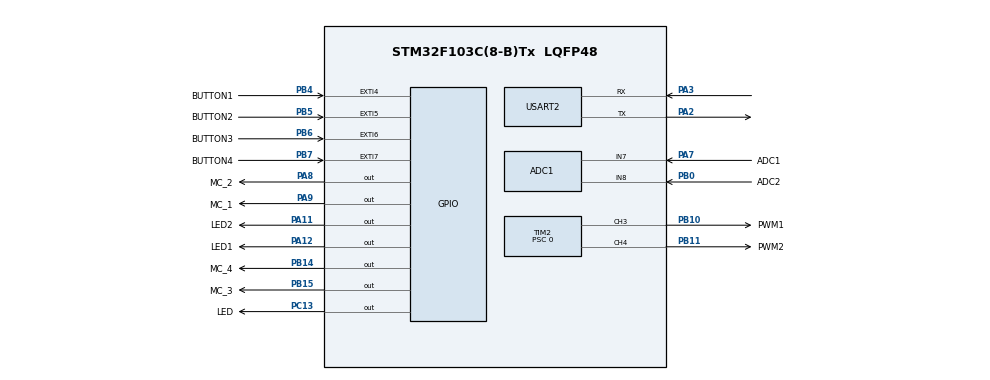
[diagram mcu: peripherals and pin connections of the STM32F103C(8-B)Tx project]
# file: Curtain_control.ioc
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ADC1.Channel-2\#ChannelRegularConversion=ADC_CHANNEL_7
ADC1.Channel-3\#ChannelRegularConversion=ADC_CHANNEL_8
ADC1.ContinuousConvMode=ENABLE
ADC1.NbrOfConversion=2
ADC1.NbrOfConversionFlag=1
ADC1.Rank-2\#ChannelRegularConversion=1
ADC1.Rank-3\#ChannelRegularConversion=2
ADC1.SamplingTime-2\#ChannelRegularConversion=ADC_SAMPLETIME_1CYCLE_5
ADC1.SamplingTime-3\#ChannelRegularConversion=ADC_SAMPLETIME_1CYCLE_5
ADC1.master=1
Dma.ADC1.0.Direction=DMA_PERIPH_TO_MEMORY
Dma.ADC1.0.Instance=DMA1_Channel1
Dma.ADC1.0.MemDataAlignment=DMA_MDATAALIGN_WORD
Dma.ADC1.0.MemInc=DMA_MINC_ENABLE
Dma.ADC1.0.Mode=DMA_CIRCULAR
Dma.ADC1.0.PeriphDataAlignment=DMA_PDATAALIGN_WORD
Dma.ADC1.0.PeriphInc=DMA_PINC_DISABLE
Dma.ADC1.0.Priority=DMA_PRIORITY_LOW
Dma.Request0=ADC1
Dma.Request1=USART2_TX
Dma.Request2=USART2_RX
Dma.USART2_RX.2.Direction=DMA_PERIPH_TO_MEMORY
Dma.USART2_RX.2.Instance=DMA1_Channel6
Dma.USART2_RX.2.MemDataAlignment=DMA_MDATAALIGN_BYTE
Dma.USART2_RX.2.MemInc=DMA_MINC_ENABLE
Dma.USART2_RX.2.Mode=DMA_NORMAL
Dma.USART2_RX.2.PeriphDataAlignment=DMA_PDATAALIGN_BYTE
Dma.USART2_RX.2.PeriphInc=DMA_PINC_DISABLE
Dma.USART2_RX.2.Priority=DMA_PRIORITY_HIGH
Dma.USART2_TX.1.Direction=DMA_MEMORY_TO_PERIPH
Dma.USART2_TX.1.Instance=DMA1_Channel7
Dma.USART2_TX.1.MemDataAlignment=DMA_MDATAALIGN_BYTE
Dma.USART2_TX.1.MemInc=DMA_MINC_ENABLE
Dma.USART2_TX.1.Mode=DMA_NORMAL
Dma.USART2_TX.1.PeriphDataAlignment=DMA_PDATAALIGN_BYTE
Dma.USART2_TX.1.PeriphInc=DMA_PINC_DISABLE
Dma.USART2_TX.1.Priority=DMA_PRIORITY_HIGH
FREERTOS.Tasks01=defaultTask,24,128,StartDefaultTask,Default,NULL,Dynamic,NULL,NULL;myTaskoutput,8,128,StartTask02,Default,NULL,Dynamic,NULL,NULL;myTask_BUTTON,8,128,StartTask03,Default,NULL,Dynamic,NULL,NULL
Mcu.Family=STM32F1
Mcu.Name=STM32F103C(8-B)Tx
Mcu.Package=LQFP48
NVIC.DMA1_Channel1_IRQn=true\:0\:0\:false\:false\:true\:true\:false\:true
NVIC.DMA1_Channel6_IRQn=true\:0\:0\:false\:false\:true\:true\:false\:true
NVIC.DMA1_Channel7_IRQn=true\:0\:0\:false\:false\:true\:true\:false\:true
NVIC.EXTI4_IRQn=true\:0\:0\:false\:false\:true\:false\:true\:true
NVIC.EXTI9_5_IRQn=true\:0\:0\:false\:false\:true\:false\:true\:true
NVIC.PriorityGroup=NVIC_PRIORITYGROUP_4
NVIC.USART2_IRQn=true\:1\:0\:true\:false\:true\:false\:true\:true
PA11.GPIO_Label=LED2
PA11.Signal=GPIO_Output
PA12.GPIO_Label=LED1
PA12.Signal=GPIO_Output
PA13.Mode=Serial_Wire
PA13.Signal=SYS_JTMS-SWDIO
PA14.Mode=Serial_Wire
PA14.Signal=SYS_JTCK-SWCLK
PA2.Mode=Asynchronous
PA2.Signal=USART2_TX
PA3.Mode=Asynchronous
PA3.Signal=USART2_RX
PA7.GPIO_Label=ADC1
PA7.Signal=ADCx_IN7
PA8.GPIO_Label=MC_2
PA8.Signal=GPIO_Output
PA9.GPIO_Label=MC_1
PA9.Signal=GPIO_Output
PB0.GPIO_Label=ADC2
PB0.Signal=ADCx_IN8
PB10.GPIO_Label=PWM1
PB10.GPIO_ModeDefaultPP=GPIO_MODE_AF_PP
PB10.Signal=S_TIM2_CH3
PB11.GPIO_Label=PWM2
PB11.GPIO_ModeDefaultPP=GPIO_MODE_AF_PP
PB11.Signal=S_TIM2_CH4
PB14.GPIO_Label=MC_4
PB14.Signal=GPIO_Output
PB15.GPIO_Label=MC_3
PB15.Signal=GPIO_Output
PB3.Signal=SYS_JTDO-TRACESWO
PB4.GPIO_Label=BUTTON1
PB4.GPIO_ModeDefaultEXTI=GPIO_MODE_IT_RISING
PB4.GPIO_PuPd=GPIO_PULLDOWN
PB4.Signal=GPXTI4
PB5.GPIO_Label=BUTTON2
PB5.GPIO_ModeDefaultEXTI=GPIO_MODE_IT_RISING
PB5.GPIO_PuPd=GPIO_PULLDOWN
PB5.Signal=GPXTI5
PB6.GPIO_Label=BUTTON3
PB6.GPIO_ModeDefaultEXTI=GPIO_MODE_IT_RISING
PB6.GPIO_PuPd=GPIO_PULLDOWN
PB6.Signal=GPXTI6
PB7.GPIO_Label=BUTTON4
PB7.GPIO_PuPd=GPIO_PULLDOWN
PB7.Signal=GPXTI7
PC13-TAMPER-RTC.GPIO_Label=LED
PC13-TAMPER-RTC.Signal=GPIO_Output
ProjectManager.HeapSize=0x200
ProjectManager.StackSize=0x400
ProjectManager.TargetToolchain=STM32CubeIDE
RCC.APB1Freq_Value=8000000
RCC.APB2Freq_Value=8000000
SH.ADCx_IN7.0=ADC1_IN7,IN7
SH.ADCx_IN8.0=ADC1_IN8,IN8
SH.S_TIM2_CH3.0=TIM2_CH3,PWM Generation3 CH3
SH.S_TIM2_CH4.0=TIM2_CH4,PWM Generation4 CH4
TIM2.AutoReloadPreload=TIM_AUTORELOAD_PRELOAD_DISABLE
TIM2.Channel-PWM\ Generation3\ CH3=TIM_CHANNEL_3
TIM2.Channel-PWM\ Generation4\ CH4=TIM_CHANNEL_4
TIM2.OCMode_PWM-PWM\ Generation4\ CH4=TIM_OCMODE_PWM1
TIM2.OCPolarity_3=TIM_OCPOLARITY_HIGH
TIM2.OCPolarity_4=TIM_OCPOLARITY_HIGH
TIM2.Period=10000-1
TIM2.Prescaler=0
TIM2.Pulse-PWM\ Generation3\ CH3=0
TIM2.Pulse-PWM\ Generation4\ CH4=0
USART2.VirtualMode=VM_ASYNC
VP_FREERTOS_VS_CMSIS_V2.Mode=CMSIS_V2
board=custom

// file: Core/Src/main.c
/* USER CODE BEGIN Header */
/**
  ******************************************************************************
  * @file           : main.c
  * @brief          : Main program body
  ******************************************************************************
  * @attention
  *
  * <h2><center>&copy; Copyright (c) 2020 STMicroelectronics.
  * All rights reserved.</center></h2>
  *
  * This software component is licensed by ST under BSD 3-Clause license,
  * the "License"; You may not use this file except in compliance with the
  * License. You may obtain a copy of the License at:
  *                        opensource.org/licenses/BSD-3-Clause
  *
  ******************************************************************************
  */
/* USER CODE END Header */
#include "main.h"
#include "cmsis_os.h"
#include "adc.h"
#include "dma.h"
#include "tim.h"
#include "usart.h"
#include "gpio.h"

/* USER CODE BEGIN Includes */
#include "stdio.h"

/* USER CODE END Includes */

void SystemClock_Config(void);
void MX_FREERTOS_Init(void);

/* USER CODE BEGIN 0 */

int _write(int file , char *ptr,int len)
{
    int i = 0;
    for(i = 0;i<len;i++)
        ITM_SendChar((*ptr++));
    return len;
}

/*
 * hUART2
#ifdef __GNUC__
#define PUTCHAR_PROTOTYPE int __io_putchar(int ch)
#else
#define PUTCHAR_PROTOTYPE int fputc(int ch, FILE *f)
#endif

PUTCHAR_PROTOTYPE
{
    HAL_UART_Transmit(&huart2 , (uint8_t *)&ch, 1, 0xFFFF);
    return ch;
}
*/

/* USER CODE END 0 */

int main(void)
{

  /* MCU Configuration--------------------------------------------------------*/

  /* Reset of all peripherals, Initializes the Flash interface and the Systick. */
  HAL_Init();

  /* Configure the system clock */
  SystemClock_Config();

  /* Initialize all configured peripherals */
  MX_GPIO_Init();
  MX_DMA_Init();
  MX_ADC1_Init();
  MX_TIM2_Init();
  MX_USART2_UART_Init();

  /* Init scheduler */
  osKernelInitialize();  /* Call init function for freertos objects (in freertos.c) */
  MX_FREERTOS_Init();
  /* Start scheduler */
  osKernelStart();

  /* We should never get here as control is now taken by the scheduler */
  /* Infinite loop */
  while (1)
  {

  }
}

void SystemClock_Config(void)
{
  RCC_OscInitTypeDef RCC_OscInitStruct = {0};
  RCC_ClkInitTypeDef RCC_ClkInitStruct = {0};
  RCC_PeriphCLKInitTypeDef PeriphClkInit = {0};

  /** Initializes the RCC Oscillators according to the specified parameters
  * in the RCC_OscInitTypeDef structure.
  */
  RCC_OscInitStruct.OscillatorType = RCC_OSCILLATORTYPE_HSI;
  RCC_OscInitStruct.HSIState = RCC_HSI_ON;
  RCC_OscInitStruct.HSICalibrationValue = RCC_HSICALIBRATION_DEFAULT;
  RCC_OscInitStruct.PLL.PLLState = RCC_PLL_NONE;
  if (HAL_RCC_OscConfig(&RCC_OscInitStruct) != HAL_OK)
  {
    Error_Handler();
  }
  /** Initializes the CPU, AHB and APB buses clocks
  */
  RCC_ClkInitStruct.ClockType = RCC_CLOCKTYPE_HCLK|RCC_CLOCKTYPE_SYSCLK
                              |RCC_CLOCKTYPE_PCLK1|RCC_CLOCKTYPE_PCLK2;
  RCC_ClkInitStruct.SYSCLKSource = RCC_SYSCLKSOURCE_HSI;
  RCC_ClkInitStruct.AHBCLKDivider = RCC_SYSCLK_DIV1;
  RCC_ClkInitStruct.APB1CLKDivider = RCC_HCLK_DIV1;
  RCC_ClkInitStruct.APB2CLKDivider = RCC_HCLK_DIV1;

  if (HAL_RCC_ClockConfig(&RCC_ClkInitStruct, FLASH_LATENCY_0) != HAL_OK)
  {
    Error_Handler();
  }
  PeriphClkInit.PeriphClockSelection = RCC_PERIPHCLK_ADC;
  PeriphClkInit.AdcClockSelection = RCC_ADCPCLK2_DIV2;
  if (HAL_RCCEx_PeriphCLKConfig(&PeriphClkInit) != HAL_OK)
  {
    Error_Handler();
  }
}

void Error_Handler(void)
{
}

/************************ (C) COPYRIGHT STMicroelectronics *****END OF FILE****/

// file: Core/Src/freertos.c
/* USER CODE BEGIN Header */
/**
 ******************************************************************************
 * File Name          : freertos.c
 * Description        : Code for freertos applications
 ******************************************************************************
 * @attention
 *
 * <h2><center>&copy; Copyright (c) 2020 STMicroelectronics.
 * All rights reserved.</center></h2>
 *
 * This software component is licensed by ST under Ultimate Liberty license
 * SLA0044, the "License"; You may not use this file except in compliance with
 * the License. You may obtain a copy of the License at:
 *                             www.st.com/SLA0044
 *
 ******************************************************************************
 */
/* USER CODE END Header */

#include "FreeRTOS.h"
#include "task.h"
#include "main.h"
#include "cmsis_os.h"

/* USER CODE BEGIN Includes */
#include "adc.h"
#include "tim.h"
#include "usart.h"
#include "stdio.h"
#include "stdarg.h"
#include "stm32f1xx_hal_flash.h"
/* USER CODE END Includes */

/* USER CODE BEGIN Variables */
int timer_conut = 0;
int motor_res=0;
int run_time_n = 5000; 	//全速功率-秒數
int run_time_s = 1000; 	//慢速功率-秒數
int run_pwm_n = 4000;	//全速功率
int run_pwm_s = 2000;	//慢速功率
int smooth_mode = 1; 	//緩速模式 0-關閉 1-開啟

uint32_t ADC_Value[100];
uint32_t ad1, ad2;
uint32_t real_adc1, real_adc2;

int i = 0;
int buttom_flag[5] = { 0 };

int sys_mode = 0;
int sys_setting = 0;
int motor_dir = 0;

uint8_t rxData[] = { 0 };
uint8_t UartTxBuf[100];

uint32_t writeFlashData = 0x55555555;
uint32_t addr = 0x08007000;
/* USER CODE END Variables */
/* Definitions for defaultTask */
osThreadId_t defaultTaskHandle;
const osThreadAttr_t defaultTask_attributes = { .name = "defaultTask",
		.priority = (osPriority_t) osPriorityNormal, .stack_size = 128 * 4 };
/* Definitions for myTaskoutput */
osThreadId_t myTaskoutputHandle;
const osThreadAttr_t myTaskoutput_attributes = { .name = "myTaskoutput",
		.priority = (osPriority_t) osPriorityLow, .stack_size = 128 * 4 };
/* Definitions for myTask_BUTTON */
osThreadId_t myTask_BUTTONHandle;
const osThreadAttr_t myTask_BUTTON_attributes = { .name = "myTask_BUTTON",
		.priority = (osPriority_t) osPriorityLow - 1, .stack_size = 128 * 4 };

/* USER CODE BEGIN FunctionPrototypes */

//FLASH寫入數據測試
void writeFlashTest(void) {
	//1、解鎖FLASH
	HAL_FLASH_Unlock();

	//2、擦除FLASH
	//初始化FLASH_EraseInitTypeDef
	FLASH_EraseInitTypeDef f;
	f.TypeErase = FLASH_TYPEERASE_PAGES;
	f.PageAddress = addr;
	f.NbPages = 1;
	//設置PageError
	uint32_t PageError = 0;
	//調用擦除函數
	HAL_FLASHEx_Erase(&f, &PageError);

	//3、對FLASH燒寫

	HAL_FLASH_Program(FLASH_TYPEPROGRAM_WORD, addr, writeFlashData);
	//4、鎖住FLASH
	HAL_FLASH_Lock();
}

//FLASH讀取數據測試
void printFlashTest(void) {
	uint32_t temp = *(__IO uint32_t*) (addr);

	Usart2DmaPrintf("addr:0x%x, data:0x%x\r\n", addr, temp);
}

void Usart2DmaPrintf(const char *format, ...) {
	uint16_t len;
	va_list args;
	va_start(args, format);
	len = vsnprintf((char*) UartTxBuf, sizeof(UartTxBuf) + 1, (char*) format,
			args);
	va_end(args);
	HAL_UART_Transmit_DMA(&huart2, UartTxBuf, len);
	osDelay(10); //避免資料穿插

}

void HAL_GPIO_EXTI_Callback(uint16_t GPIO_Pin) {
	switch (GPIO_Pin) {
	case GPIO_PIN_4: // GPIO_PIN_13 is the Blue Button
		HAL_GPIO_TogglePin(GPIOC, GPIO_PIN_13); //PC13 Led
		buttom_flag[1]++;
		break;
	case GPIO_PIN_5:
		HAL_GPIO_TogglePin(GPIOC, GPIO_PIN_13); //PC13 Led
		buttom_flag[2]++;
		break;
	case GPIO_PIN_6:
		HAL_GPIO_TogglePin(GPIOC, GPIO_PIN_13); //PC13 Led
		buttom_flag[3]++;
		break;
	case GPIO_PIN_7:
		HAL_GPIO_TogglePin(GPIOC, GPIO_PIN_13); //PC13 Led
		buttom_flag[4]++;
		break;
	}
}

void clean_buttom_flag(void) {
	//Usart2DmaPrintf("clena\n");
	for (i = 0; i <= 5; i++) { //clean flag
		buttom_flag[i] = 0;
		osDelay(1);
	}
}

void zheng_zhuan(int pwm) {
	//HAL_UART_Transmit_DMA(&huart2, "zheng_zhuan\n",sizeof("zheng_zhuan\n") - 1);
	Usart2DmaPrintf("zheng_zhuan\n");
	HAL_GPIO_WritePin(MC_1_GPIO_Port, MC_1_Pin, GPIO_PIN_RESET);
	HAL_GPIO_WritePin(MC_2_GPIO_Port, MC_2_Pin, GPIO_PIN_SET);
	user_pwm_setvalue_1(pwm);
}
void fan_zhuan(int pwm) {
	//HAL_UART_Transmit_DMA(&huart2, "fan_zhuan\n", sizeof("fan_zhuan\n") - 1);
	Usart2DmaPrintf("fan_zhuan\n");
	HAL_GPIO_WritePin(MC_1_GPIO_Port, MC_1_Pin, GPIO_PIN_SET);
	HAL_GPIO_WritePin(MC_2_GPIO_Port, MC_2_Pin, GPIO_PIN_RESET);
	user_pwm_setvalue_2(pwm);
}
void stop_motor(void) {
	//HAL_UART_Transmit_DMA(&huart2, "stop_motor\n", sizeof("stop_motor\n") - 1);
	Usart2DmaPrintf("stop_motor\n");
	HAL_GPIO_WritePin(MC_1_GPIO_Port, MC_1_Pin, GPIO_PIN_RESET);
	HAL_GPIO_WritePin(MC_2_GPIO_Port, MC_2_Pin, GPIO_PIN_RESET);
	user_pwm_setvalue_1(0);
	user_pwm_setvalue_2(0);
	osDelay(100);
}
void run_motor(int dir, int action, int slow_flag) {
	//HAL_UART_Transmit_DMA(&huart2, "run_motor\n", sizeof("run_motor\n") - 1);
	Usart2DmaPrintf("run_motor\n");
	if (action == 0) { //關門
		if (dir == 0) {
			if (slow_flag == 1) {
				zheng_zhuan(run_pwm_s);
			} else {
				zheng_zhuan(run_pwm_n);
			}
		} else if (dir == 1) {
			if (slow_flag == 1) {
				fan_zhuan(run_pwm_s);
			} else {
				fan_zhuan(run_pwm_n);
			}
		}
	} else if (action == 1) { //開門
		if (dir == 0) {
			if (slow_flag == 1) {
				fan_zhuan(run_pwm_s);
			} else {
				fan_zhuan(run_pwm_n);
			}
		} else if (dir == 1) {
			if (slow_flag == 1) {
				zheng_zhuan(run_pwm_s);
			} else {
				zheng_zhuan(run_pwm_n);
			}
		}
	}
	//fan_zhuan(run_pwm_n);

}
void point_motor(void) { //上下點動
	//HAL_UART_Transmit_DMA(&huart2, "point_motor\n",sizeof("point_motor\n") - 1);
	Usart2DmaPrintf("point_motor\n");
	fan_zhuan(run_pwm_n);
	stop_motor();
	zheng_zhuan(run_pwm_n);
	stop_motor();
	clean_buttom_flag();
}

void lock_motor(void) {
	Usart2DmaPrintf("lock_motor\n");
	//HAL_UART_Transmit_DMA(&huart2, "lock_motor\n", sizeof("lock_motor\n") - 1);
	HAL_GPIO_WritePin(MC_1_GPIO_Port, MC_1_Pin, GPIO_PIN_SET);
	HAL_GPIO_WritePin(MC_2_GPIO_Port, MC_2_Pin, GPIO_PIN_SET);
	user_pwm_setvalue_1(0);
	user_pwm_setvalue_2(0);
}
void turn_on_motor(int slow_time, int time, int slow_pwm, int pwm) {
	zheng_zhuan(pwm);
	smoothPWM(1, 0, slow_pwm, 10, slow_time);
	//user_pwm_setvalue_1(slow_pwm);
	user_pwm_setvalue_1(pwm);
	osDelay(time);
	smoothPWM(1, slow_pwm, 0, 10, slow_time);
	//user_pwm_setvalue_1(slow_pwm);
	osDelay(slow_time);
	stop_motor();

}

void turn_off_motor(int slow_time, int time, int slow_pwm, int pwm) {
	fan_zhuan(pwm);
	smoothPWM(2, 0, slow_pwm, 10, slow_time);
	//user_pwm_setvalue_2(slow_pwm);
	user_pwm_setvalue_2(pwm);
	osDelay(time);
	smoothPWM(2, slow_pwm, 0, 10, slow_time);
	//user_pwm_setvalue_2(slow_pwm);
	osDelay(slow_time);
	stop_motor();

}

void smoothPWM(int channel, int start_val, int end_val, int step_size,
		int step_time) {
	switch (channel) {
	case 1:
		if (start_val < end_val) {
			while (start_val <= end_val) {
				user_pwm_setvalue_1(start_val);
				osDelay(step_time);
				start_val = start_val + step_size;
			}
		} else {
			while (start_val >= end_val) {
				user_pwm_setvalue_1(start_val);
				osDelay(step_time);
				start_val = start_val - step_size;
			}
		}
		break;
	case 2:
		if (start_val < end_val) {
			while (start_val <= end_val) {
				user_pwm_setvalue_2(start_val);
				osDelay(step_time);
				start_val = start_val + step_size;
			}
		} else {
			while (start_val >= end_val) {
				user_pwm_setvalue_2(start_val);
				osDelay(step_time);
				start_val = start_val - step_size;
			}
		}
		break;
	default:
		break;
	}
}

void auto_limits(int setting_mode) {
	Usart2DmaPrintf("auto_limits\n");
	switch (setting_mode) {
	case 1:
		break;
	case 2:
		break;
	case 3:
		break;
	default:
		printf("auto limits error\n");
	}
}
void save_limits_set(int save_data) {
	Usart2DmaPrintf("save_limits_set\n");
	switch (save_data) {
	case 0:
		break;
	case 1:
		break;
	case 2:
		break;
	default:
		printf("save data mode error\n");
	}
}

void print_sysinfo(int mode) {

	switch (mode) {
	case 0: //All
		Usart2DmaPrintf("\n==============================\n");
		Usart2DmaPrintf("| Sys time : %d\n", xTaskGetTickCount());
		Usart2DmaPrintf("| Mode:\t%d  \t\tSetMode:\t\t%d  \t|\n", sys_mode,
				sys_setting);
		Usart2DmaPrintf("| m_dir:\t%d  \t\tSmoothMode:\t%d  \t|\n", motor_dir,
				smooth_mode);
		Usart2DmaPrintf("| m_res:\t%d  \t\tSmoothMode:\t%d  \t|\n", motor_res,
				smooth_mode);
		Usart2DmaPrintf("| TimeN:\t%dms\tTimeSlow:\t%dms\t|\n", run_time_n,
				run_time_s);
		Usart2DmaPrintf("| pwmN:\t%d  \tPWNSlow:\t%d  \t|\n", run_pwm_n,
				run_pwm_s);
		Usart2DmaPrintf("| Buttom Flag:[%d] [%d] [%d] [%d] \t\t\t|\n",
				buttom_flag[1], buttom_flag[2], buttom_flag[3], buttom_flag[4]);
		Usart2DmaPrintf("| ADC1:\t%d  \tADC2:\t%d \t\t|\n", real_adc1,
				real_adc2);
		Usart2DmaPrintf("==============================\n");
		break;
	case 1:
		break;
	case 2:
		break;
	default:
		printf("save data mode error\n");
	}
}

/* USER CODE END FunctionPrototypes */

void StartDefaultTask(void *argument);
void StartTask02(void *argument);
void StartTask03(void *argument);

void MX_FREERTOS_Init(void); /* (MISRA C 2004 rule 8.1) */

void MX_FREERTOS_Init(void) {
	/* USER CODE BEGIN Init */
	//stop_motor();
	//printf("Helloworld!\n");
	HAL_GPIO_WritePin(MC_1_GPIO_Port, MC_1_Pin, GPIO_PIN_RESET);
	HAL_GPIO_WritePin(MC_2_GPIO_Port, MC_2_Pin, GPIO_PIN_RESET);
	user_pwm_setvalue_1(0);
	user_pwm_setvalue_2(0);
	if (HAL_UART_Receive_DMA(&huart2, (uint8_t*) rxData, sizeof(rxData) - 1)
			!= HAL_OK)	//main函数while(1)前，启动一次DMA接收
			{
		Error_Handler();
	}
	HAL_UART_Transmit_DMA(&huart2, "Sys Run\n", sizeof("Sys Run\n") - 1);//可以通过DMA把数据发出去

	/* USER CODE END Init */

	/* Create the thread(s) */
	/* creation of defaultTask */
	defaultTaskHandle = osThreadNew(StartDefaultTask, NULL,
			&defaultTask_attributes);

	/* creation of myTaskoutput */
	myTaskoutputHandle = osThreadNew(StartTask02, NULL,
			&myTaskoutput_attributes);

	/* creation of myTask_BUTTON */
	myTask_BUTTONHandle = osThreadNew(StartTask03, NULL,
			&myTask_BUTTON_attributes);

}

void StartDefaultTask(void *argument) {
	/* USER CODE BEGIN StartDefaultTask */
	//int time_count=0;
	/* Infinite loop */
	for (;;) {
		osDelay(1000);
		while (sys_setting == 1) {
			osDelay(10);
		}
		if (sys_mode == 1) {
			//clean_buttom_flag();
			timer_conut = 0;
			run_motor(motor_dir, 0, smooth_mode);
			while (timer_conut < run_time_s) {
				timer_conut++;
				if (buttom_flag[2] > 0||motor_res==1)
					break;
				osDelay(1);
			}
			timer_conut = 0;
			run_motor(motor_dir, 0, 0);
			while (timer_conut < run_time_n) {
				timer_conut++;
				if (buttom_flag[2] > 0||motor_res==1)
					break;
				osDelay(1);
			}
			timer_conut = 0;
			run_motor(motor_dir, 0, smooth_mode);
			while (timer_conut < run_time_s) {
				timer_conut++;
				if (buttom_flag[2] > 0||motor_res==1)
					break;
				osDelay(1);
			}
			stop_motor();
		} else if (sys_mode == 2) {
			//clean_buttom_flag();
			stop_motor();
		} else if (sys_mode == 3) {
			//clean_buttom_flag();
			timer_conut = 0;
			run_motor(motor_dir, 1, smooth_mode);
			while (timer_conut < run_time_s) {
				timer_conut++;
				if (buttom_flag[2] > 0||motor_res==1)
					break;
				osDelay(1);
			}
			timer_conut = 0;
			run_motor(motor_dir, 1, 0);
			while (timer_conut < run_time_n) {
				timer_conut++;
				if (buttom_flag[2] > 0||motor_res==1)
					break;
				osDelay(1);
			}
			timer_conut = 0;
			run_motor(motor_dir, 1, smooth_mode);
			while (timer_conut < run_time_s) {
				timer_conut++;
				if (buttom_flag[2] > 0||motor_res==1)
					break;
				osDelay(1);
			}
			stop_motor();
		}
		clean_buttom_flag();

	}
	/* USER CODE END StartDefaultTask */
}

void StartTask02(void *argument) {
	/* USER CODE BEGIN StartTask02 */
	HAL_ADC_Start_DMA(&hadc1, (uint32_t*) &ADC_Value, 100);
	/* Infinite loop */
	for (;;) {
		for (i = 0, ad1 = 0, ad2 = 0; i < 100;) {
			ad1 += ADC_Value[i++];
			ad2 += ADC_Value[i++];
			osDelay(1);
		}
		real_adc1 = ad1 / 50;
		real_adc2 = ad2 / 50;
		if(real_adc1>real_adc2){
			motor_res=1;
			HAL_GPIO_WritePin(LED_GPIO_Port, LED_Pin, GPIO_PIN_RESET);
		}else{
			motor_res=0;
			HAL_GPIO_WritePin(LED_GPIO_Port, LED_Pin, GPIO_PIN_SET);
		}
		//HAL_GPIO_TogglePin(LED_GPIO_Port, LED_Pin);
		print_sysinfo(0);
	}

	/* USER CODE END StartTask02 */
}

void StartTask03(void *argument) {
	/* USER CODE BEGIN StartTask03 */
	/* Infinite loop */
	for (;;) {
		if (buttom_flag[1] > 0) {                        //up
			sys_mode = 1;
			//run_motor(motor_dir, 1);
		}
		if (buttom_flag[2] > 0) {                        //mind
			sys_mode = 2;
			//stop_motor();
		}
		if (buttom_flag[3] > 0) {                        //down
			sys_mode = 3;
			//run_motor(motor_dir, 1);
		}
		if (buttom_flag[4] > 0&&sys_setting==1) {                        //jump setting
			sys_setting = 0;
			point_motor();
		}

		if (buttom_flag[1] > 0 && buttom_flag[3] > 0) {      //into setting mode
			sys_setting = 1;
			clean_buttom_flag();
			point_motor();
			while (sys_setting > 0) {

				if (buttom_flag[1] > 0 && buttom_flag[3] > 0) { //Auto set Both limits
					clean_buttom_flag();
					sys_setting = 2;
					auto_limits(1);
					//sys_setting = 1;
				} else if (buttom_flag[2] > 0 && buttom_flag[3] > 0) { //Top limit Set by user
					clean_buttom_flag();
					sys_setting = 3;
					run_motor(motor_dir, 1, 0);
					while (1) {                        //keep run
						clean_buttom_flag();
						if (buttom_flag[2] > 0) {
							stop_motor();
							save_limits_set(2);
							sys_setting = 1;
							break;
						}
						osDelay(1);
					}
				} else if (buttom_flag[1] > 0 && buttom_flag[2] > 0) { //Bottom limit Set by user
					clean_buttom_flag();
					sys_setting = 4;
					run_motor(abs(motor_dir - 1), 0, 0);
					while (1) {                        //keep run
						clean_buttom_flag();
						if (buttom_flag[2] > 0) {
							stop_motor();
							save_limits_set(3);
							sys_setting = 1;
							break;
						}
						osDelay(1);
					}
				}
				if (buttom_flag[2] > 0 && sys_setting == 1) {           //改變旋轉方向
					point_motor();
					if (motor_dir == 1) {
						motor_dir = 0;
					} else {
						motor_dir = 1;
					}
				}
				if (buttom_flag[2]) {
					save_limits_set(0);
					point_motor();
				}
				if (buttom_flag[4] > 0) {                        //exit setting
					point_motor();
					sys_setting = 0;
					break;
				}
				osDelay(250);
			}
		}
		osDelay(100);
	}
	/* USER CODE END StartTask03 */
}

/************************ (C) COPYRIGHT STMicroelectronics *****END OF FILE****/
